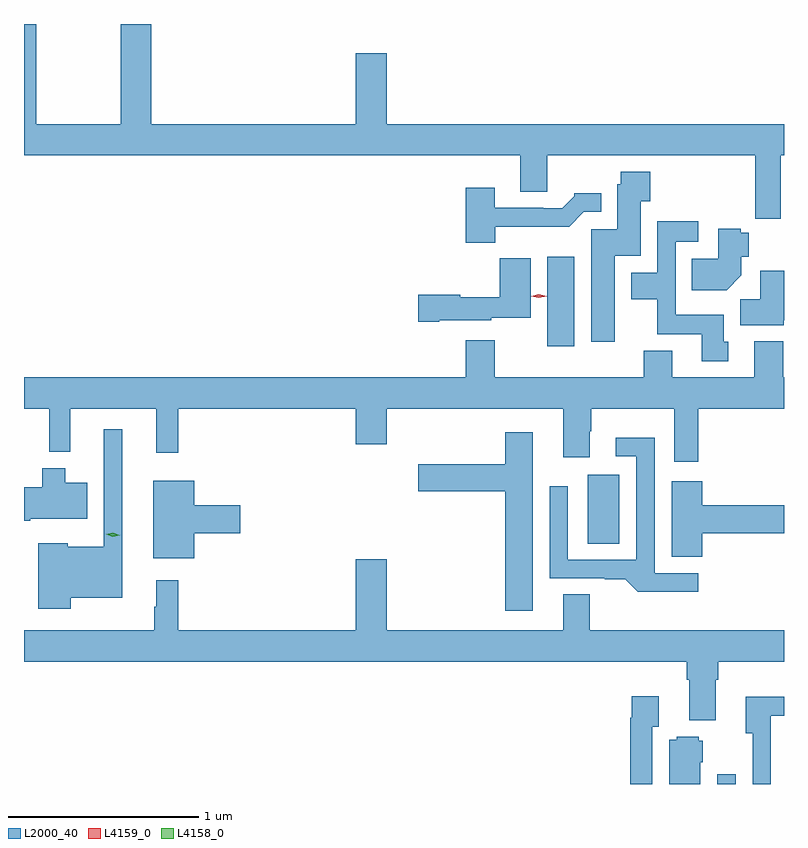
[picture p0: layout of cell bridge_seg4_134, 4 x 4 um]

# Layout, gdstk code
import gdstk
lib = gdstk.Library(unit=1e-6, precision=1e-09)
def R(c, l, rs):  # rectangles x0, y0, x1, y1
    for r in rs: c.add(gdstk.rectangle(r[:2], r[2:], *l))
def P(c, l, *ps):  # polygons
    for p in ps: c.add(gdstk.Polygon(p, *l))
L2000_40 = (2000, 40)
L4158_0 = (4158, 0)
L4159_0 = (4159, 0)

bridge_seg4_134 = lib.new_cell('bridge_seg4_134')
R(bridge_seg4_134, L2000_40, [(334.743,798.84,334.839,798.892), (334.061,800.104,334.228,800.467), (333.848,801.144,333.991,801.616)])
P(bridge_seg4_134, L2000_40, [(333.004,802.687),(332.84,802.687),(332.84,802.312),(331.763,802.312),(331.763,802.84),(331.603,802.84),(331.603,802.312),(331.158,802.312),(331.158,802.84),(331.094,802.84),(331.094,802.148),(333.707,802.148),(333.707,801.958),(333.847,801.958),(333.847,802.148),(334.942,802.148),(334.942,801.928),(334.943,801.928),(334.943,801.816),(335.078,801.816),(335.078,802.148),(335.094,802.148),(335.094,802.312),(333.004,802.312)],
  [(334.204,801.62),(334.339,801.62),(334.339,801.907),(334.391,801.907),(334.391,802.063),(334.234,802.063),(334.234,801.996),(334.217,801.996),(334.217,801.759),(334.079,801.759),(334.079,801.168),(334.204,801.168)],
  [(333.574,801.774),(333.963,801.774),(334.041,801.852),(334.132,801.852),(334.132,801.949),(333.99,801.949),(333.99,801.934),(333.926,801.87),(333.827,801.87),(333.827,801.873),(333.571,801.873),(333.571,801.979),(333.419,801.979),(333.419,801.689),(333.574,801.689)],
  [(334.801,801.168),(334.777,801.168),(334.777,801.31),(334.524,801.31),(334.524,801.693),(334.642,801.693),(334.642,801.802),(334.428,801.802),(334.428,801.532),(334.289,801.532),(334.289,801.392),(334.426,801.392),(334.426,801.206),(334.661,801.206),(334.661,801.066),(334.801,801.066)],
  [(334.87,801.518),(334.87,801.614),(334.909,801.614),(334.909,801.742),(334.866,801.742),(334.866,801.762),(334.748,801.762),(334.748,801.604),(334.609,801.604),(334.609,801.44),(334.792,801.44)],
  [(333.28,801.281),(333.552,801.281),(333.552,801.293),(333.76,801.293),(333.76,801.607),(333.598,801.607),(333.598,801.403),(333.39,801.403),(333.39,801.416),(333.168,801.416),(333.168,801.274),(333.28,801.274)],
  [(335.092,801.282),(335.094,801.282),(335.094,801.541),(334.97,801.541),(334.97,801.392),(334.865,801.392),(334.865,801.254),(335.092,801.254)],
  [(333.932,800.559),(334.072,800.559),(334.072,800.696),(334.08,800.696),(334.08,800.816),(334.517,800.816),(334.517,800.535),(334.643,800.535),(334.643,800.816),(335.094,800.816),(335.094,800.98),(335.09,800.98),(335.09,801.169),(334.937,801.169),(334.937,800.98),(334.507,800.98),(334.507,801.121),(334.355,801.121),(334.355,800.98),(333.571,800.98),(333.571,801.175),(333.419,801.175),(333.419,800.98),(331.094,800.98),(331.094,800.816),(331.227,800.816),(331.227,800.588),(331.337,800.588),(331.337,800.816),(331.79,800.816),(331.79,800.583),(331.907,800.583),(331.907,800.816),(332.84,800.816),(332.84,800.628),(333.004,800.628),(333.004,800.816),(333.932,800.816)],
  [(331.339,799.82),(331.612,799.82),(331.612,800.707),(331.515,800.707),(331.515,800.089),(331.323,800.089),(331.323,800.107),(331.169,800.107),(331.169,799.763),(331.339,799.763)],
  [(333.772,800.692),(333.626,800.692),(333.626,800.523),(333.168,800.523),(333.168,800.381),(333.626,800.381),(333.626,799.752),(333.772,799.752)],
  [(334.642,799.95),(334.413,799.95),(334.413,800.662),(334.209,800.662),(334.209,800.565),(334.317,800.565),(334.317,800.019),(333.957,800.019),(333.957,800.407),(333.861,800.407),(333.861,799.923),(334.151,799.923),(334.151,799.918),(334.259,799.918),(334.325,799.853),(334.642,799.853)],
  [(331.126,800.237),(331.426,800.237),(331.426,800.425),(331.312,800.425),(331.312,800.503),(331.19,800.503),(331.19,800.403),(331.094,800.403),(331.094,800.225),(331.126,800.225)],
  [(331.99,800.159),(332.233,800.159),(332.233,800.306),(331.99,800.306),(331.99,800.437),(331.775,800.437),(331.775,800.027),(331.99,800.027)],
  [(334.664,800.159),(335.094,800.159),(335.094,800.306),(334.664,800.306),(334.664,800.434),(334.502,800.434),(334.502,800.035),(334.664,800.035)],
  [(332.84,800.023),(332.84,799.648),(331.907,799.648),(331.907,799.912),(331.79,799.912),(331.79,799.772),(331.779,799.772),(331.779,799.648),(331.094,799.648),(331.094,799.484),(334.583,799.484),(334.583,799.388),(334.595,799.388),(334.595,799.175),(334.735,799.175),(334.735,799.388),(334.748,799.388),(334.748,799.484),(335.094,799.484),(335.094,799.648),(334.072,799.648),(334.072,799.838),(333.932,799.838),(333.932,799.648),(333.004,799.648),(333.004,800.023)],
  [(334.401,799.142),(334.435,799.142),(334.435,799.303),(334.293,799.303),(334.293,799.19),(334.285,799.19),(334.285,798.84),(334.401,798.84)],
  [(335.025,799.2),(335.094,799.2),(335.094,799.298),(334.892,799.298),(334.892,799.106),(334.929,799.106),(334.929,798.84),(335.025,798.84)],
  [(334.654,798.954),(334.666,798.954),(334.666,799.068),(334.644,799.068),(334.644,799.09),(334.53,799.09),(334.53,799.072),(334.49,799.072),(334.49,798.84),(334.654,798.84)])
P(bridge_seg4_134, L4158_0, [(331.56,800.142),(331.526,800.154),(331.525,800.154),(331.526,800.155),(331.562,800.162),(331.597,800.15),(331.597,800.15),(331.597,800.149)])
P(bridge_seg4_134, L4159_0, [(333.804,801.398),(333.764,801.407),(333.763,801.408),(333.764,801.408),(333.804,801.418),(333.846,801.408),(333.846,801.408),(333.846,801.407)])

lib.write_gds('bridge_seg4_134.gds')
